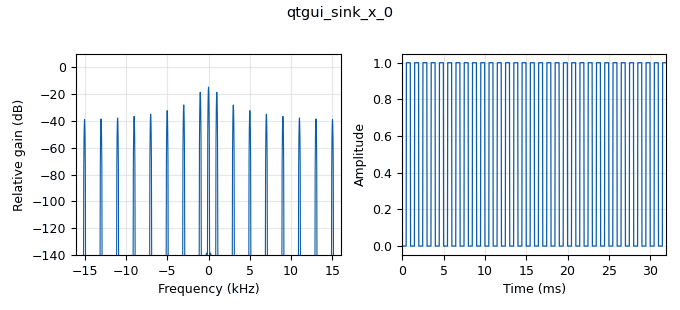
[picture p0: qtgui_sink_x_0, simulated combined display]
options:
  parameters:
    author: murat
    generate_options: qt_gui
    id: GR_ExplorationofSignals
    output_language: python
    title: Not titled yet
  states: {}

blocks:
- name: freq
  id: variable_qtgui_range
  parameters:
    start: 1e3
    step: '100'
    stop: 16e3
    value: 1e3
  states: {}
- name: samp_rate
  id: variable
  parameters:
    value: '32000'
  states: {}
- name: analog_sig_source_x_0
  id: analog_sig_source_x
  parameters:
    amp: '1'
    comment: |-
      w/wo throttle block
      real/complex sinusoids
      positive/negative frequencies
      squarewave frequency analysis
    freq: freq
    offset: '0'
    phase: '0'
    samp_rate: samp_rate
    type: float
    waveform: analog.GR_SQR_WAVE
  states: {}
- name: blocks_throttle_0
  id: blocks_throttle
  parameters:
    samples_per_second: samp_rate
    type: float
  states: {}
- name: qtgui_sink_x_0
  id: qtgui_sink_x
  parameters:
    bw: samp_rate
    fc: '0'
    fftsize: '1024'
    type: float
  states: {}

connections:
- [analog_sig_source_x_0, '0', blocks_throttle_0, '0']
- [blocks_throttle_0, '0', qtgui_sink_x_0, '0']

metadata:
  file_format: 1
  grc_version: 3.10.8.0
